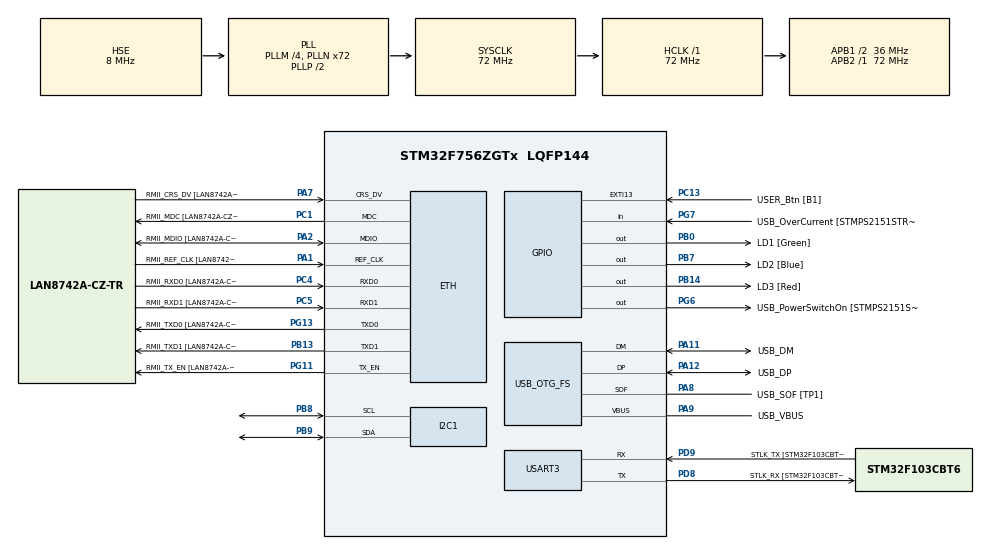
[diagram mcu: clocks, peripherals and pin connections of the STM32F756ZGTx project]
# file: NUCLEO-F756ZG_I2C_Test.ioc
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CORTEX_M7.default_mode_Activation=1
ETH.MediaInterface=HAL_ETH_RMII_MODE
ETH.PHY_Name=LAN8742A_PHY_ADDRESS
ETH.PHY_Value=0
ETH.PhyAddress=0
I2C1.Timing=0x00808CD2
Mcu.Family=STM32F7
Mcu.Name=STM32F756ZGTx
Mcu.Package=LQFP144
NVIC.PriorityGroup=NVIC_PRIORITYGROUP_4
PA1.GPIO_Label=RMII_REF_CLK [LAN8742A-CZ-TR_REFCLK0]
PA1.Mode=RMII
PA1.Signal=ETH_REF_CLK
PA10.GPIO_Label=USB_ID
PA10.Signal=USB_OTG_FS_ID
PA11.GPIO_Label=USB_DM
PA11.Mode=Device_Only
PA11.Signal=USB_OTG_FS_DM
PA12.GPIO_Label=USB_DP
PA12.Mode=Device_Only
PA12.Signal=USB_OTG_FS_DP
PA13.GPIO_Label=TMS
PA13.Mode=Serial_Wire
PA13.Signal=SYS_JTMS-SWDIO
PA14.GPIO_Label=TCK
PA14.Mode=Serial_Wire
PA14.Signal=SYS_JTCK-SWCLK
PA2.GPIO_Label=RMII_MDIO [LAN8742A-CZ-TR_MDIO]
PA2.Mode=RMII
PA2.Signal=ETH_MDIO
PA7.GPIO_Label=RMII_CRS_DV [LAN8742A-CZ-TR_CRS_DV]
PA7.Mode=RMII
PA7.Signal=ETH_CRS_DV
PA8.GPIO_Label=USB_SOF [TP1]
PA8.Mode=Activate_SOF_FS
PA8.Signal=USB_OTG_FS_SOF
PA9.GPIO_Label=USB_VBUS
PA9.Mode=Activate_VBUS
PA9.Signal=USB_OTG_FS_VBUS
PB0.GPIO_Label=LD1 [Green]
PB0.Signal=GPIO_Output
PB13.GPIO_Label=RMII_TXD1 [LAN8742A-CZ-TR_TXD1]
PB13.Mode=RMII
PB13.Signal=ETH_TXD1
PB14.GPIO_Label=LD3 [Red]
PB14.Signal=GPIO_Output
PB3.GPIO_Label=SW0
PB3.Signal=SYS_JTDO-SWO
PB7.GPIO_Label=LD2 [Blue]
PB7.Signal=GPIO_Output
PB8.GPIO_Mode=GPIO_MODE_AF_OD
PB8.GPIO_Pu=GPIO_NOPULL
PB8.GPIO_Speed=GPIO_SPEED_FREQ_VERY_HIGH
PB8.Mode=I2C
PB8.Signal=I2C1_SCL
PB9.GPIO_Mode=GPIO_MODE_AF_OD
PB9.GPIO_Pu=GPIO_NOPULL
PB9.GPIO_Speed=GPIO_SPEED_FREQ_VERY_HIGH
PB9.Mode=I2C
PB9.Signal=I2C1_SDA
PC1.GPIO_Label=RMII_MDC [LAN8742A-CZ-TR_MDC]
PC1.Mode=RMII
PC1.Signal=ETH_MDC
PC13.GPIO_Label=USER_Btn [B1]
PC13.Signal=GPXTI13
PC14/OSC32_IN.Mode=LSE-External-Oscillator
PC14/OSC32_IN.Signal=RCC_OSC32_IN
PC15/OSC32_OUT.Mode=LSE-External-Oscillator
PC15/OSC32_OUT.Signal=RCC_OSC32_OUT
PC4.GPIO_Label=RMII_RXD0 [LAN8742A-CZ-TR_RXD0]
PC4.Mode=RMII
PC4.Signal=ETH_RXD0
PC5.GPIO_Label=RMII_RXD1 [LAN8742A-CZ-TR_RXD1]
PC5.Mode=RMII
PC5.Signal=ETH_RXD1
PD8.GPIO_Label=STLK_RX [STM32F103CBT6_PA3]
PD8.Mode=Asynchronous
PD8.Signal=USART3_TX
PD9.GPIO_Label=STLK_TX [STM32F103CBT6_PA2]
PD9.Mode=Asynchronous
PD9.Signal=USART3_RX
PG11.GPIO_Label=RMII_TX_EN [LAN8742A-CZ-TR_TXEN]
PG11.Mode=RMII
PG11.Signal=ETH_TX_EN
PG13.GPIO_Label=RMII_TXD0 [LAN8742A-CZ-TR_TXD0]
PG13.Mode=RMII
PG13.Signal=ETH_TXD0
PG6.GPIO_Label=USB_PowerSwitchOn [STMPS2151STR_EN]
PG6.Signal=GPIO_Output
PG7.GPIO_Label=USB_OverCurrent [STMPS2151STR_FAULT]
PG7.Signal=GPIO_Input
PH0/OSC_IN.GPIO_Label=MCO [STM32F103CBT6_PA8]
PH0/OSC_IN.Mode=HSE-External-Clock-Source
PH0/OSC_IN.Signal=RCC_OSC_IN
PH1/OSC_OUT.Mode=HSE-External-Clock-Source
PH1/OSC_OUT.Signal=RCC_OSC_OUT
ProjectManager.HeapSize=0x200
ProjectManager.StackSize=0x400
ProjectManager.TargetToolchain=STM32CubeIDE
RCC.48MHZClocksFreq_Value=24000000
RCC.AHBFreq_Value=72000000
RCC.APB1CLKDivider=RCC_HCLK_DIV2
RCC.APB1Freq_Value=36000000
RCC.APB1TimFreq_Value=72000000
RCC.APB2Freq_Value=72000000
RCC.APB2TimFreq_Value=72000000
RCC.CortexFreq_Value=72000000
RCC.HCLKFreq_Value=72000000
RCC.HSE_VALUE=8000000
RCC.HSI_VALUE=16000000
RCC.PLLM=4
RCC.PLLMUL=RCC_PLL_MUL9
RCC.PLLN=72
RCC.PLLQ=3
RCC.PRESCALERUSB=RCC_USBCLKSOURCE_PLL_DIV1_5
RCC.SYSCLKFreq_VALUE=72000000
RCC.SYSCLKSource=RCC_SYSCLKSOURCE_PLLCLK
RCC.SYSCLKSourceVirtual=RCC_SYSCLKSOURCE_PLLCLK
RCC.USBFreq_Value=48000000
RCC.VCOOutputFreq_Value=144000000
USART3.VirtualMode-Asynchronous=VM_ASYNC
USB_OTG_FS.VirtualMode=Device_Only
board=NUCLEO-F756ZG

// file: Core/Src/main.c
/* USER CODE BEGIN Header */
/**
 ******************************************************************************
 * @file           : main.c
 * @brief          : Main program body
 ******************************************************************************
 * @attention
 *
 * Copyright (c) 2026 STMicroelectronics.
 * All rights reserved.
 *
 * This software is licensed under terms that can be found in the LICENSE file
 * in the root directory of this software component.
 * If no LICENSE file comes with this software, it is provided AS-IS.
 *
 ******************************************************************************
 */
/* USER CODE END Header */
#include "main.h"
#include "eth.h"
#include "i2c.h"
#include "usart.h"
#include "usb_otg.h"
#include "gpio.h"

/* USER CODE BEGIN Includes */
#include <stdio.h>
#include <string.h>
/* USER CODE END Includes */

void SystemClock_Config(void);
static void MPU_Config(void);
/* USER CODE BEGIN PFP */
static void I2C_Scan(void) {
	char msg[64];
	int found = 0;
	int n = snprintf(msg, sizeof(msg), "\r\n--- I2C scan ---\r\n");
	HAL_UART_Transmit(&huart3, (uint8_t*) msg, n, 100);

	for (uint8_t addr = 0x08; addr <= 0x77; addr++) {
		if (HAL_I2C_IsDeviceReady(&hi2c1, (uint16_t) (addr << 1), 2, 5)
				== HAL_OK) {
			n = snprintf(msg, sizeof(msg),
					"ACK: 0x%02X  (HAL/8-bit: 0x%02X)\r\n", addr, addr << 1);
			HAL_UART_Transmit(&huart3, (uint8_t*) msg, n, 100);
			found++;
		}
	}
	n = snprintf(msg, sizeof(msg), "Znaleziono: %d\r\n", found);
	HAL_UART_Transmit(&huart3, (uint8_t*) msg, n, 100);
	n = snprintf(msg, sizeof(msg), "err=0x%08lX\r\n", HAL_I2C_GetError(&hi2c1));
	HAL_UART_Transmit(&huart3, (uint8_t*) msg, n, 100);
}
/* USER CODE END PFP */

int main(void) {

	/* MPU Configuration--------------------------------------------------------*/
	MPU_Config();

	/* MCU Configuration--------------------------------------------------------*/

	/* Reset of all peripherals, Initializes the Flash interface and the Systick. */
	HAL_Init();

	/* Configure the system clock */
	SystemClock_Config();

	/* Initialize all configured peripherals */
	MX_GPIO_Init();
	MX_ETH_Init();
	MX_USART3_UART_Init();
	MX_USB_OTG_FS_PCD_Init();
	MX_I2C1_Init();

	/* Infinite loop */
	/* USER CODE BEGIN WHILE */
	while (1) {
		I2C_Scan();
		HAL_Delay(2000);
		/* USER CODE END WHILE */

	}
}

void SystemClock_Config(void) {
	RCC_OscInitTypeDef RCC_OscInitStruct = { 0 };
	RCC_ClkInitTypeDef RCC_ClkInitStruct = { 0 };

	/** Configure LSE Drive Capability
	 */
	HAL_PWR_EnableBkUpAccess();

	/** Configure the main internal regulator output voltage
	 */
	__HAL_RCC_PWR_CLK_ENABLE();
	__HAL_PWR_VOLTAGESCALING_CONFIG(PWR_REGULATOR_VOLTAGE_SCALE3);

	/** Initializes the RCC Oscillators according to the specified parameters
	 * in the RCC_OscInitTypeDef structure.
	 */
	RCC_OscInitStruct.OscillatorType = RCC_OSCILLATORTYPE_HSE;
	RCC_OscInitStruct.HSEState = RCC_HSE_BYPASS;
	RCC_OscInitStruct.PLL.PLLState = RCC_PLL_ON;
	RCC_OscInitStruct.PLL.PLLSource = RCC_PLLSOURCE_HSE;
	RCC_OscInitStruct.PLL.PLLM = 4;
	RCC_OscInitStruct.PLL.PLLN = 72;
	RCC_OscInitStruct.PLL.PLLP = RCC_PLLP_DIV2;
	RCC_OscInitStruct.PLL.PLLQ = 3;
	if (HAL_RCC_OscConfig(&RCC_OscInitStruct) != HAL_OK) {
		Error_Handler();
	}

	/** Initializes the CPU, AHB and APB buses clocks
	 */
	RCC_ClkInitStruct.ClockType = RCC_CLOCKTYPE_HCLK | RCC_CLOCKTYPE_SYSCLK
			| RCC_CLOCKTYPE_PCLK1 | RCC_CLOCKTYPE_PCLK2;
	RCC_ClkInitStruct.SYSCLKSource = RCC_SYSCLKSOURCE_PLLCLK;
	RCC_ClkInitStruct.AHBCLKDivider = RCC_SYSCLK_DIV1;
	RCC_ClkInitStruct.APB1CLKDivider = RCC_HCLK_DIV2;
	RCC_ClkInitStruct.APB2CLKDivider = RCC_HCLK_DIV1;

	if (HAL_RCC_ClockConfig(&RCC_ClkInitStruct, FLASH_LATENCY_2) != HAL_OK) {
		Error_Handler();
	}
}

/* MPU Configuration */

void MPU_Config(void) {
	MPU_Region_InitTypeDef MPU_InitStruct = { 0 };

	/* Disables the MPU */
	HAL_MPU_Disable();

	/** Initializes and configures the Region and the memory to be protected
	 */
	MPU_InitStruct.Enable = MPU_REGION_ENABLE;
	MPU_InitStruct.Number = MPU_REGION_NUMBER0;
	MPU_InitStruct.BaseAddress = 0x0;
	MPU_InitStruct.Size = MPU_REGION_SIZE_4GB;
	MPU_InitStruct.SubRegionDisable = 0x87;
	MPU_InitStruct.TypeExtField = MPU_TEX_LEVEL0;
	MPU_InitStruct.AccessPermission = MPU_REGION_NO_ACCESS;
	MPU_InitStruct.DisableExec = MPU_INSTRUCTION_ACCESS_DISABLE;
	MPU_InitStruct.IsShareable = MPU_ACCESS_SHAREABLE;
	MPU_InitStruct.IsCacheable = MPU_ACCESS_NOT_CACHEABLE;
	MPU_InitStruct.IsBufferable = MPU_ACCESS_NOT_BUFFERABLE;

	HAL_MPU_ConfigRegion(&MPU_InitStruct);
	/* Enables the MPU */
	HAL_MPU_Enable(MPU_PRIVILEGED_DEFAULT);

}

void Error_Handler(void) {
	__disable_irq();
	while (1) {
	}
}
